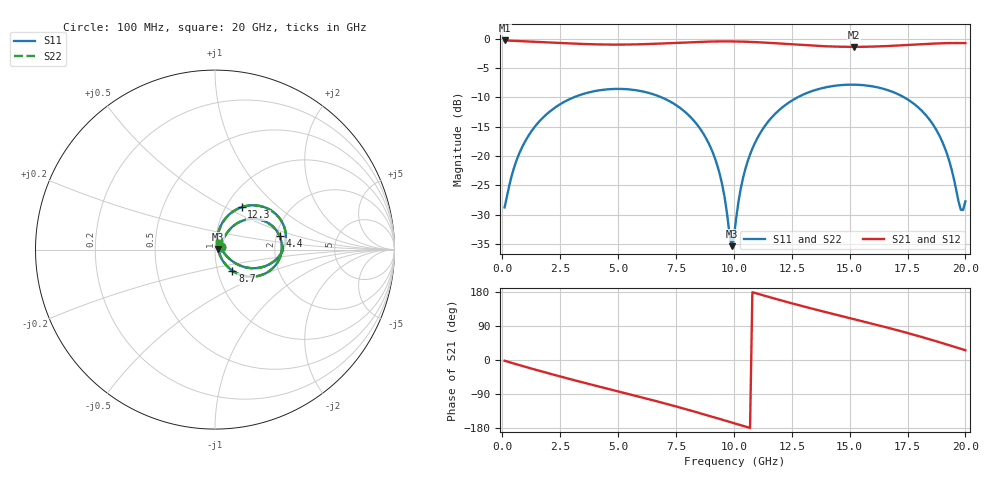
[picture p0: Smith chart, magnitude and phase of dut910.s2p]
! Touchstone file exported from HFSS 2026.1.0
!  File:  C:/ffzhzh/LocalFiles/Ansys_Project_Files/temp_train_TSV_RDL_910_1783277995_5512.aedt
!  Generated:  03:12:45 AM Jul  6, 2026
!  Design:  TSV_RDL
!  Project:  temp_train_TSV_RDL_910_1783277995_5512
! Variables:
!  h_bsmrdl = 2.3um
!  h_ox = 20um
!  h_rdl = 5um
!  h_sub = 94.3um
!  h_tmrdl = 2.29um
!  h_tsv = 94.3um
!  h_via = 3um
!  l_bsmrdl = 256.33um
!  l_sub = 5229.97um
!  l_tmrdl = 978.27um
!  m_sub = 200um
!  pitch = 40.56um
!  r_tsv = 12.75um
!  s_tmrdl = 10um
!  w_bsmrdl = 28.37um
!  w_sub = 500um
!  w_tmrdl = 20.93um
!  x_tsv_center1 = 988.735um
!  x_tsv_center2 = 1273.435um
!  x_tsv_center3 = 2272.635um
!  x_tsv_center4 = 2557.335um
!  x_tsv_center5 = 3556.535um
!  x_tsv_center6 = 3841.235um
# GHz S MA R 50.000000
! Terminal data exported
! Port[1] = TM_RDL1_1_T1
! Port[2] = TM_RDL5_1_T1
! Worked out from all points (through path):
!   200 points, 100 MHz to 20 GHz, reference 50 ohm
!   highest |S21| = -0.29 dB at 100 MHz (marker M1); lowest = -1.4 dB at 15.2 GHz (marker M2)
!   group delay of S21, straight-line fit = 46 ps
!   lowest |S11| = -35.4 dB at 9.9 GHz (marker M3), VSWR 1.03, Z = 51.7 + j0.152 ohm
!   |S11| at or under -10 dB: start of sweep to 3.086 GHz; 6.877 GHz to 12.75 GHz (5.873 GHz wide, 59.8 % of centre); 17.36 GHz to end of sweep
!   |S22| runs from -35.0 to -7.8 dB; largest |S21 - S12| = 1.6e-14
!   S11 on the Smith chart (normalised r, x): 100 MHz: 1.07, +0.03; 4.4 GHz: 2.08, +0.37; 8.7 GHz: 1.18, -0.29; 12.3 GHz: 1.18, +0.60; 20 GHz: 1.04, +0.07
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0.1  0.03639 22.2  0.9667 -1.9  0.9667 -1.9  0.03639 22.2
! Gamma 0 0 0 0
! Port Impedance 50 0 50 0
0.6  0.09001 53.3  0.9578 -11.1  0.9578 -11.1  0.09001 53.3
1.2  0.1561 53.0  0.9465 -21.6  0.9465 -21.6  0.1561 53.0
2.2  0.2523 42.2  0.9263 -38.5  0.9263 -38.5  0.2523 42.2
3.5  0.3382 24.6  0.9022 -59.5  0.9022 -59.5  0.3382 24.6
4.4  0.3677 11.9  0.8927 -73.5  0.8927 -73.5  0.3677 12.0
6.8  0.3209 -22.8  0.9092 -111.0  0.9092 -111.0  0.3208 -22.7
8.7  0.1531 -50.5  0.9431 -143.2  0.9431 -143.2  0.1531 -50.3
9.4  0.06896 -54.8  0.949 -155.8  0.949 -155.8  0.06907 -54.2
9.9  0.017 5.0  0.9488 -164.8  0.9488 -164.8  0.01773 5.5
10.1  0.02935 63.7  0.9475 -168.5  0.9475 -168.5  0.02985 62.5
10.4  0.06533 78.5  0.9445 -173.9  0.9445 -173.9  0.0656 77.9
10.8  0.1154 78.1  0.9383 178.9  0.9383 178.9  0.1156 77.7
11.4  0.1869 71.1  0.9254 168.3  0.9254 168.3  0.1871 70.8
12.3  0.279 58.0  0.9013 152.9  0.9013 152.9  0.2791 57.8
13.4  0.3589 41.7  0.8731 135.2  0.8731 135.2  0.359 41.5
15.2  0.4056 16.0  0.8524 107.6  0.8524 107.6  0.4057 15.9
16.7  0.3615 -5.2  0.8675 84.4  0.8675 84.4  0.3615 -5.3
18.6  0.1854 -31.0  0.9087 52.0  0.9087 52.0  0.1855 -31.1
19.2  0.105 -33.4  0.917 41.0  0.917 41.0  0.105 -33.4
19.8  0.03479 13.4  0.9186 29.6  0.9186 29.6  0.03492 13.3
20  0.04101 57.7  0.9173 25.8  0.9173 25.8  0.04111 57.5
